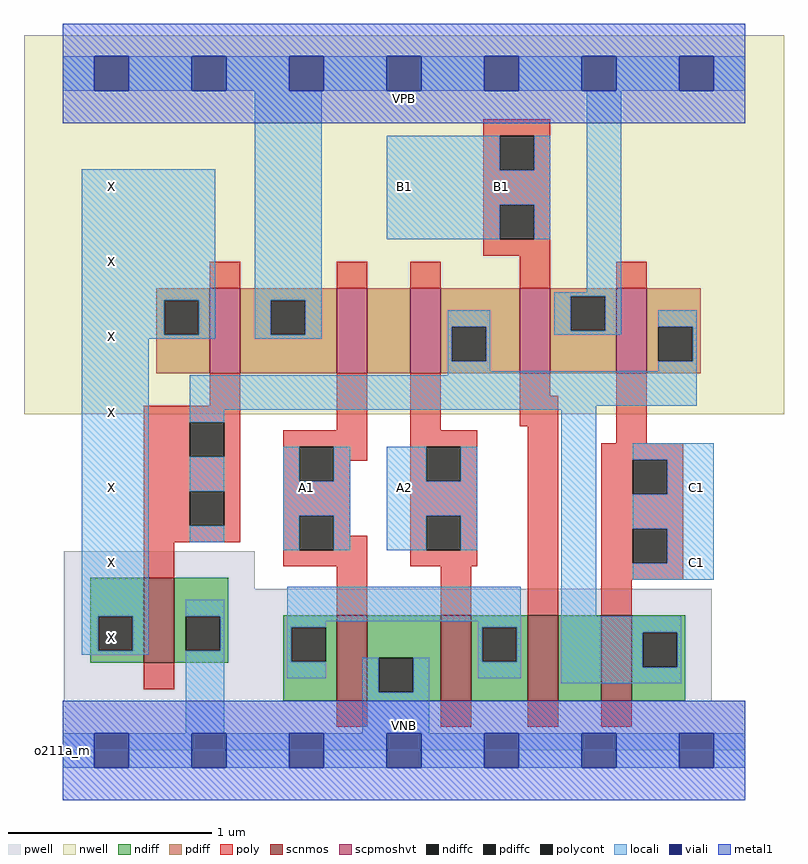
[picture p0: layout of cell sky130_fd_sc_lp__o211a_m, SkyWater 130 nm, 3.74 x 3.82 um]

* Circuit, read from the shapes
.subckt sky130_fd_sc_lp__o211a_m A1 A2 B1 C1 VGND VNB VPB VPWR X
XM1 VGND n1 X VNB sky130_fd_pr__nfet_01v8 w=0.42 l=0.15
XM2 VGND A1 n2 VNB sky130_fd_pr__nfet_01v8 w=0.42 l=0.15
XM3 n2 A2 VGND VNB sky130_fd_pr__nfet_01v8 w=0.42 l=0.15
XM4 n3 B1 n2 VNB sky130_fd_pr__nfet_01v8 w=0.42 l=0.15
XM5 n1 C1 n3 VNB sky130_fd_pr__nfet_01v8 w=0.42 l=0.15
XM6 VPWR n1 X VPB sky130_fd_pr__pfet_01v8_hvt w=0.42 l=0.15
XM7 n4 A1 VPWR VPB sky130_fd_pr__pfet_01v8_hvt w=0.42 l=0.15
XM8 n1 A2 n4 VPB sky130_fd_pr__pfet_01v8_hvt w=0.42 l=0.15
XM9 VPWR B1 n1 VPB sky130_fd_pr__pfet_01v8_hvt w=0.42 l=0.15
XM10 n1 C1 VPWR VPB sky130_fd_pr__pfet_01v8_hvt w=0.42 l=0.15
.ends

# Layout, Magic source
magic
tech sky130A
magscale 1 2
<< nwell >>
rect -38 331 710 704
<< pwell >>
rect 1 159 189 196
rect 1 49 639 159
rect 0 0 672 49
<< scnmos >>
rect 80 86 110 170
rect 270 49 300 133
rect 372 49 402 133
rect 458 49 488 133
rect 530 49 560 133
<< scpmoshvt >>
rect 145 371 175 455
rect 270 371 300 455
rect 342 371 372 455
rect 450 371 480 455
rect 545 371 575 455
<< ndiff >>
rect 27 132 80 170
rect 27 98 35 132
rect 69 98 80 132
rect 27 86 80 98
rect 110 132 163 170
rect 110 98 121 132
rect 155 98 163 132
rect 110 86 163 98
rect 217 121 270 133
rect 217 87 225 121
rect 259 87 270 121
rect 217 49 270 87
rect 300 91 372 133
rect 300 57 311 91
rect 345 57 372 91
rect 300 49 372 57
rect 402 121 458 133
rect 402 87 413 121
rect 447 87 458 121
rect 402 49 458 87
rect 488 49 530 133
rect 560 116 613 133
rect 560 82 571 116
rect 605 82 613 116
rect 560 49 613 82
<< pdiff >>
rect 92 443 145 455
rect 92 409 100 443
rect 134 409 145 443
rect 92 371 145 409
rect 175 443 270 455
rect 175 409 205 443
rect 239 409 270 443
rect 175 371 270 409
rect 300 371 342 455
rect 372 417 450 455
rect 372 383 383 417
rect 417 383 450 417
rect 372 371 450 383
rect 480 447 545 455
rect 480 413 500 447
rect 534 413 545 447
rect 480 371 545 413
rect 575 417 628 455
rect 575 383 586 417
rect 620 383 628 417
rect 575 371 628 383
<< ndiffc >>
rect 35 98 69 132
rect 121 98 155 132
rect 225 87 259 121
rect 311 57 345 91
rect 413 87 447 121
rect 571 82 605 116
<< pdiffc >>
rect 100 409 134 443
rect 205 409 239 443
rect 383 383 417 417
rect 500 413 534 447
rect 586 383 620 417
<< poly >>
rect 414 605 480 621
rect 414 571 430 605
rect 464 571 480 605
rect 414 537 480 571
rect 414 503 430 537
rect 464 503 480 537
rect 414 487 480 503
rect 145 455 175 481
rect 270 455 300 481
rect 342 455 372 481
rect 450 455 480 487
rect 545 455 575 481
rect 145 339 175 371
rect 80 323 175 339
rect 80 289 125 323
rect 159 289 175 323
rect 270 315 300 371
rect 80 255 175 289
rect 80 221 125 255
rect 159 221 175 255
rect 80 205 175 221
rect 217 299 300 315
rect 217 265 233 299
rect 267 285 300 299
rect 342 315 372 371
rect 450 349 480 371
rect 450 319 488 349
rect 342 299 408 315
rect 267 265 283 285
rect 217 231 283 265
rect 80 170 110 205
rect 217 197 233 231
rect 267 211 283 231
rect 342 265 358 299
rect 392 265 408 299
rect 342 231 408 265
rect 267 197 300 211
rect 217 181 300 197
rect 342 197 358 231
rect 392 197 408 231
rect 342 181 408 197
rect 270 133 300 181
rect 372 133 402 181
rect 458 133 488 319
rect 545 302 575 371
rect 530 286 611 302
rect 530 252 561 286
rect 595 252 611 286
rect 530 218 611 252
rect 530 184 561 218
rect 595 184 611 218
rect 530 168 611 184
rect 530 133 560 168
rect 80 60 110 86
rect 270 23 300 49
rect 372 23 402 49
rect 458 23 488 49
rect 530 23 560 49
<< polycont >>
rect 430 571 464 605
rect 430 503 464 537
rect 125 289 159 323
rect 125 221 159 255
rect 233 265 267 299
rect 233 197 267 231
rect 358 265 392 299
rect 358 197 392 231
rect 561 252 595 286
rect 561 184 595 218
<< locali >>
rect 0 649 31 683
rect 65 649 127 683
rect 161 649 223 683
rect 257 649 319 683
rect 353 649 415 683
rect 449 649 511 683
rect 545 649 607 683
rect 641 649 672 683
rect 19 443 150 572
rect 19 409 100 443
rect 134 409 150 443
rect 19 405 150 409
rect 189 443 255 649
rect 319 571 430 605
rect 464 571 480 605
rect 319 537 480 571
rect 319 503 430 537
rect 464 503 480 537
rect 516 451 550 649
rect 189 409 205 443
rect 239 409 255 443
rect 484 447 550 451
rect 189 405 255 409
rect 379 417 421 433
rect 19 132 85 405
rect 379 383 383 417
rect 417 383 421 417
rect 484 413 500 447
rect 534 413 550 447
rect 484 409 550 413
rect 586 417 624 433
rect 379 373 421 383
rect 620 383 624 417
rect 586 373 624 383
rect 379 369 624 373
rect 125 339 624 369
rect 125 335 525 339
rect 125 323 159 335
rect 125 255 159 289
rect 125 205 159 221
rect 217 265 233 299
rect 267 265 283 299
rect 217 231 283 265
rect 217 197 233 231
rect 267 197 283 231
rect 319 265 358 299
rect 392 265 408 299
rect 319 231 408 265
rect 319 197 358 231
rect 392 197 408 231
rect 19 98 35 132
rect 69 98 85 132
rect 19 94 85 98
rect 121 132 159 148
rect 155 98 159 132
rect 121 17 159 98
rect 221 127 451 161
rect 221 121 259 127
rect 221 87 225 121
rect 409 121 451 127
rect 221 71 259 87
rect 295 57 311 91
rect 345 57 361 91
rect 409 87 413 121
rect 447 87 451 121
rect 409 71 451 87
rect 491 132 525 335
rect 561 286 641 302
rect 595 252 641 286
rect 561 218 641 252
rect 595 184 641 218
rect 561 168 641 184
rect 491 116 609 132
rect 491 82 571 116
rect 605 82 609 116
rect 491 66 609 82
rect 295 17 361 57
rect 0 -17 31 17
rect 65 -17 127 17
rect 161 -17 223 17
rect 257 -17 319 17
rect 353 -17 415 17
rect 449 -17 511 17
rect 545 -17 607 17
rect 641 -17 672 17
<< viali >>
rect 31 649 65 683
rect 127 649 161 683
rect 223 649 257 683
rect 319 649 353 683
rect 415 649 449 683
rect 511 649 545 683
rect 607 649 641 683
rect 31 -17 65 17
rect 127 -17 161 17
rect 223 -17 257 17
rect 319 -17 353 17
rect 415 -17 449 17
rect 511 -17 545 17
rect 607 -17 641 17
<< metal1 >>
rect 0 683 672 715
rect 0 649 31 683
rect 65 649 127 683
rect 161 649 223 683
rect 257 649 319 683
rect 353 649 415 683
rect 449 649 511 683
rect 545 649 607 683
rect 641 649 672 683
rect 0 617 672 649
rect 0 17 672 49
rect 0 -17 31 17
rect 65 -17 127 17
rect 161 -17 223 17
rect 257 -17 319 17
rect 353 -17 415 17
rect 449 -17 511 17
rect 545 -17 607 17
rect 641 -17 672 17
rect 0 -49 672 -17
<< labels >>
flabel pwell s 0 0 672 49 0 FreeSans 200 0 0 0 VNB
port 6 nsew ground bidirectional
flabel nwell s 0 617 672 666 0 FreeSans 200 0 0 0 VPB
port 7 nsew power bidirectional
rlabel comment s 0 0 0 0 4 o211a_m
flabel metal1 s 0 617 672 666 0 FreeSans 340 0 0 0 VPWR
port 8 nsew power bidirectional
flabel metal1 s 0 0 672 49 0 FreeSans 340 0 0 0 VGND
port 5 nsew ground bidirectional
flabel locali s 319 242 353 276 0 FreeSans 340 0 0 0 A2
port 2 nsew signal input
flabel locali s 607 168 641 202 0 FreeSans 340 0 0 0 C1
port 4 nsew signal input
flabel locali s 607 242 641 276 0 FreeSans 340 0 0 0 C1
port 4 nsew signal input
flabel locali s 223 242 257 276 0 FreeSans 340 0 0 0 A1
port 1 nsew signal input
flabel locali s 319 538 353 572 0 FreeSans 340 0 0 0 B1
port 3 nsew signal input
flabel locali s 415 538 449 572 0 FreeSans 340 0 0 0 B1
port 3 nsew signal input
flabel locali s 31 94 65 128 0 FreeSans 340 0 0 0 X
port 9 nsew signal output
flabel locali s 31 168 65 202 0 FreeSans 340 0 0 0 X
port 9 nsew signal output
flabel locali s 31 242 65 276 0 FreeSans 340 0 0 0 X
port 9 nsew signal output
flabel locali s 31 316 65 350 0 FreeSans 340 0 0 0 X
port 9 nsew signal output
flabel locali s 31 390 65 424 0 FreeSans 340 0 0 0 X
port 9 nsew signal output
flabel locali s 31 464 65 498 0 FreeSans 340 0 0 0 X
port 9 nsew signal output
flabel locali s 31 538 65 572 0 FreeSans 340 0 0 0 X
port 9 nsew signal output
<< properties >>
string LEFsite unit
string LEFclass CORE
string FIXED_BBOX 0 0 672 666
string GDS_FILE $PDKPATH/libs.ref/sky130_fd_sc_lp/gds/sky130_fd_sc_lp.gds
string LEFsymmetry X Y R90
string GDS_END 2787340
string GDS_START 2780360
<< end >>
